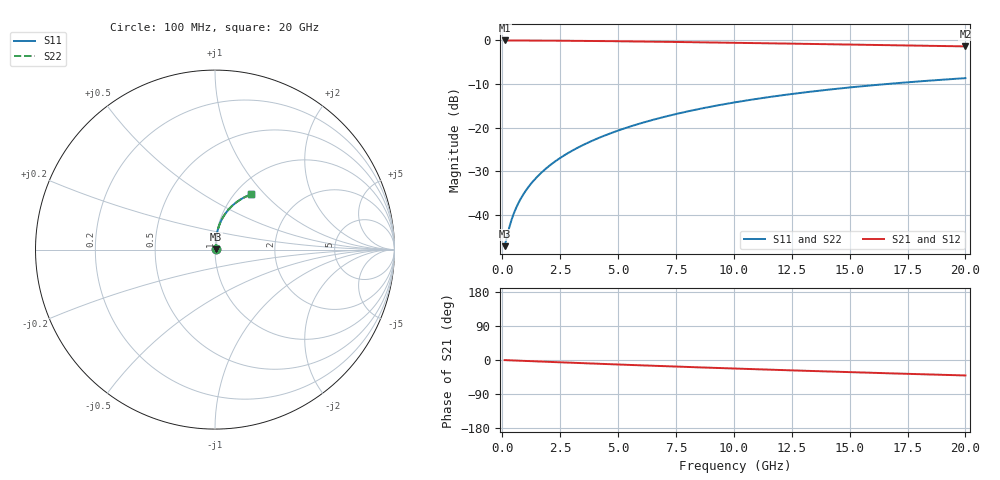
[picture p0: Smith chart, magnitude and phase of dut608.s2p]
! Touchstone file exported from HFSS 2024.1.0
!  File:  C:/UserFiles/LocalFiles/RDL_TSV_Batchsim/temp_RDL_bottom_608_1779783536.aedt
!  Generated:  04:21:29 PM May 26, 2026
!  Design:  RDL_bottom
!  Project:  temp_RDL_bottom_608_1779783536
!  Setup:  Setup1
!  Solution:  Sweep
! Variables:
!  dtsv = 10.80580581um
!  hbump = 3um
!  htsv = 53.43um
!  ldown = 583.41um
!  lrdl = 100um
!  p = 40
!  p1 = 46.87um
!  rhole = 1um
!  t = 450um
!  tdown = 2.58um
!  trdl = 3.915915916um
!  wdown = 21.89um
!  wrdl = 20um
# GHz S MA R 50.000000
! Terminal data exported
! Port[1] = RDL1_T1
! Port[2] = RDL1_T2
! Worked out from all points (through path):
!   200 points, 100 MHz to 20 GHz, reference 50 ohm
!   highest |S21| = -0.03 dB at 100 MHz (marker M1); lowest = -1.4 dB at 20 GHz (marker M2)
!   group delay of S21, straight-line fit = 5.63 ps
!   lowest |S11| = -47.1 dB at 100 MHz (marker M3), VSWR 1.01, Z = 50.4 + j0.201 ohm
!   |S11| at or under -10 dB: start of sweep to 16.63 GHz
!   |S22| runs from -47.1 to -8.7 dB; largest |S21 - S12| = 3.2e-15
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0.1  0.004391 26.9  0.9961 -0.3  0.9961 -0.3  0.004391 26.9
! Gamma 0 0 0 0
! Port Impedance 50 0 50 0
0.3  0.007176 54.1  0.9957 -0.8  0.9957 -0.8  0.007176 54.1
0.4  0.0088 60.2  0.9955 -1.0  0.9955 -1.0  0.0088 60.2
0.5  0.01044 64.2  0.9953 -1.3  0.9953 -1.3  0.01044 64.2
0.6  0.01209 67.2  0.995 -1.5  0.995 -1.5  0.01209 67.2
0.8  0.0154 71.4  0.9946 -2.0  0.9946 -2.0  0.0154 71.4
1  0.01874 74.3  0.9942 -2.5  0.9942 -2.5  0.01873 74.3
1.2  0.02211 76.4  0.9937 -3.0  0.9937 -3.0  0.02211 76.4
1.7  0.03072 79.7  0.9923 -4.2  0.9923 -4.2  0.03072 79.7
2.2  0.03956 81.5  0.9906 -5.4  0.9906 -5.4  0.03956 81.5
2.8  0.05044 82.6  0.9882 -6.8  0.9882 -6.8  0.05043 82.6
3.5  0.06347 83.2  0.9847 -8.4  0.9847 -8.4  0.06346 83.2
4.2  0.07686 83.2  0.9807 -10.1  0.9807 -10.1  0.07684 83.2
5  0.09253 82.8  0.9756 -11.9  0.9756 -11.9  0.09251 82.8
5.9  0.1105 82.0  0.9694 -13.9  0.9694 -13.9  0.1105 82.0
6.8  0.1288 80.8  0.9627 -15.8  0.9627 -15.8  0.1288 80.8
8.4  0.1615 78.3  0.9501 -19.2  0.9501 -19.2  0.1614 78.3
10.1  0.1959 75.2  0.9361 -22.7  0.9361 -22.7  0.1958 75.2
11.7  0.2274 72.1  0.9227 -25.8  0.9227 -25.8  0.2273 72.1
13.4  0.2596 68.8  0.9082 -29.1  0.9082 -29.1  0.2595 68.8
16.7  0.3175 62.6  0.88 -35.1  0.88 -35.1  0.3173 62.5
20  0.3687 56.6  0.852 -40.8  0.852 -40.8  0.3684 56.6
